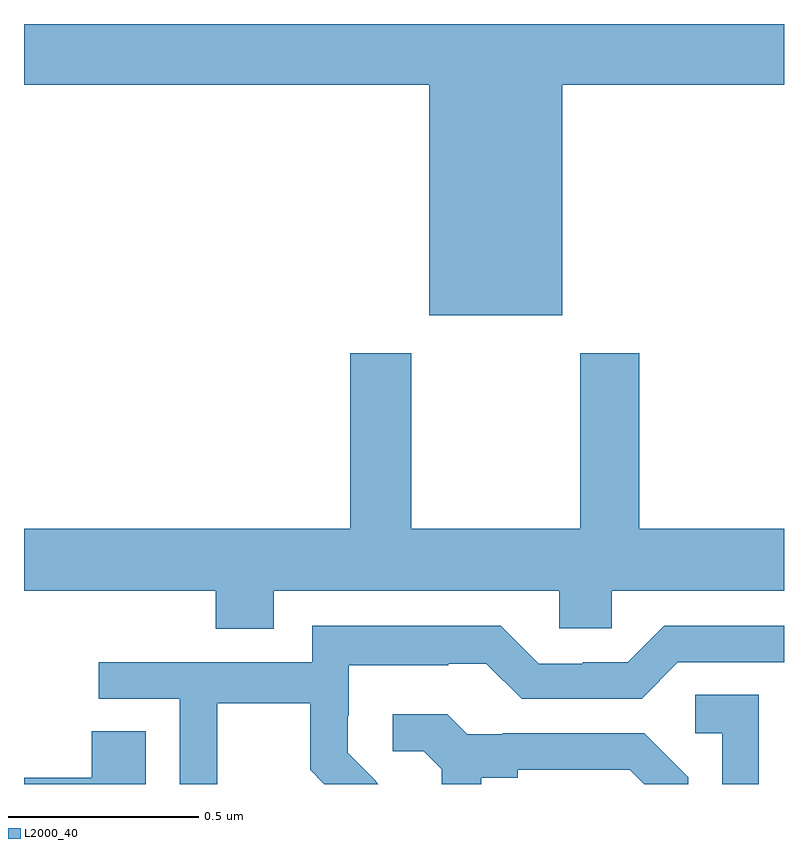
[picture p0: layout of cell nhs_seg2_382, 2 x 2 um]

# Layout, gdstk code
import gdstk
lib = gdstk.Library(unit=1e-6, precision=1e-09)
def P(c, l, *ps):  # polygons
    for p in ps: c.add(gdstk.Polygon(p, *l))
L2000_40 = (2000, 40)

nhs_seg2_382 = lib.new_cell('nhs_seg2_382')
P(nhs_seg2_382, L2000_40, [(116.416,643.64),(117,643.64),(117,643.8),(115,643.8),(115,643.64),(116.066,643.64),(116.066,643.034),(116.416,643.034)],
  [(115.657,642.308),(116.409,642.308),(116.409,642.21),(116.547,642.21),(116.547,642.308),(117,642.308),(117,642.472),(116.619,642.472),(116.619,642.934),(116.464,642.934),(116.464,642.472),(116.019,642.472),(116.019,642.934),(115.859,642.934),(115.859,642.472),(115,642.472),(115,642.308),(115.505,642.308),(115.505,642.209),(115.657,642.209)],
  [(115.509,642.012),(115.753,642.012),(115.753,641.837),(115.79,641.8),(115.932,641.8),(115.925,641.807),(115.926,641.808),(115.852,641.882),(115.852,641.979),(115.854,641.979),(115.854,642.113),(116.117,642.113),(116.117,642.117),(116.217,642.117),(116.31,642.024),(116.625,642.024),(116.721,642.12),(117,642.12),(117,642.216),(116.685,642.216),(116.589,642.12),(116.471,642.12),(116.471,642.117),(116.355,642.117),(116.255,642.217),(115.758,642.217),(115.758,642.12),(115.197,642.12),(115.197,642.024),(115.41,642.024),(115.41,641.8),(115.509,641.8)],
  [(116.934,642.035),(116.766,642.035),(116.766,641.934),(116.838,641.934),(116.838,641.8),(116.934,641.8)],
  [(116.203,641.816),(116.299,641.816),(116.299,641.838),(116.594,641.838),(116.632,641.8),(116.748,641.8),(116.748,641.818),(116.632,641.934),(116.26,641.934),(116.26,641.931),(116.166,641.931),(116.114,641.983),(115.971,641.983),(115.971,641.886),(116.052,641.886),(116.099,641.839),(116.099,641.8),(116.203,641.8)],
  [(115.321,641.939),(115.178,641.939),(115.178,641.816),(115,641.816),(115,641.8),(115.321,641.8)])

lib.write_gds('nhs_seg2_382.gds')
